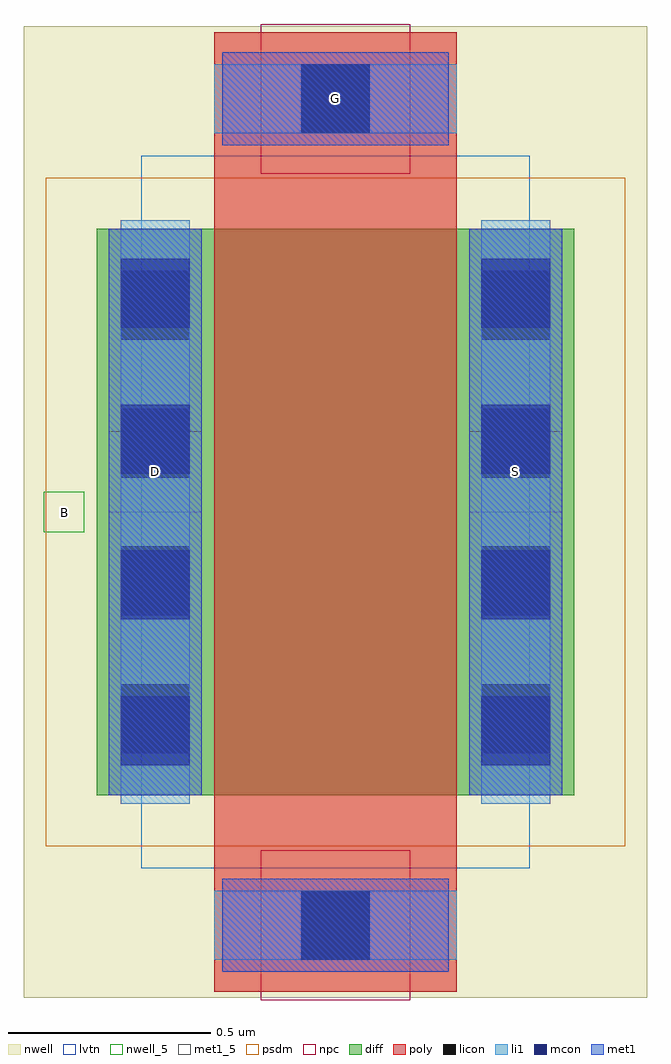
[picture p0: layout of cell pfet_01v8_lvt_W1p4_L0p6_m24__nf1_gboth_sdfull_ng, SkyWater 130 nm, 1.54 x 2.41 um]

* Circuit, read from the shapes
.subckt pfet_01v8_lvt_W1p4_L0p6_m24__nf1_gboth_sdfull_ng B D G S
XM1 S G D B sky130_fd_pr__pfet_01v8_lvt w=1.4 l=0.6
.ends

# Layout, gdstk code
import gdstk
lib = gdstk.Library(unit=1e-6, precision=1e-09)
def R(c, l, rs):  # rectangles x0, y0, x1, y1
    for r in rs: c.add(gdstk.rectangle(r[:2], r[2:], *l))
def A(c, l, x, y, w, h, nx, ny, dx, dy):  # array of equal rectangles
    R(c, l, [(x+i*dx, y+j*dy, x+i*dx+w, y+j*dy+h) for i in range(nx) for j in range(ny)])
nwell_5 = (64, 5)
nwell = (64, 20)
diff = (65, 20)
poly = (66, 20)
licon = (66, 44)
li1 = (67, 20)
mcon = (67, 44)
met1_5 = (68, 5)
met1 = (68, 20)
psdm = (94, 20)
npc = (95, 20)
lvtn = (125, 44)

sky130_fd_pr__pfet_01v8_ = lib.new_cell('sky130_fd_pr__pfet_01v8_lvt_PJ46JE')
R(sky130_fd_pr__pfet_01v8_, nwell, [(-0.77,-1.2,0.77,1.2)])
R(sky130_fd_pr__pfet_01v8_, diff, [(-0.59,-0.7,0.59,0.7)])
R(sky130_fd_pr__pfet_01v8_, poly, [(-0.3,-1.185,0.3,1.185)])
A(sky130_fd_pr__pfet_01v8_, licon, -0.53, -0.595, 0.17, 0.17, 1, 4, 0, 0.34)
A(sky130_fd_pr__pfet_01v8_, licon, 0.36, -0.595, 0.17, 0.17, 1, 4, 0, 0.34)
R(sky130_fd_pr__pfet_01v8_, licon, [(-0.085,-1.105,0.085,-0.935), (-0.085,0.935,0.085,1.105)])
R(sky130_fd_pr__pfet_01v8_, li1, [(-0.3,-1.105,0.3,-0.935), (-0.53,-0.72,-0.36,0.72), (0.36,-0.72,0.53,0.72), (-0.3,0.935,0.3,1.105)])
A(sky130_fd_pr__pfet_01v8_, mcon, -0.53, -0.625, 0.17, 0.17, 1, 4, 0, 0.36)
A(sky130_fd_pr__pfet_01v8_, mcon, 0.36, -0.625, 0.17, 0.17, 1, 4, 0, 0.36)
R(sky130_fd_pr__pfet_01v8_, mcon, [(-0.085,-1.105,0.085,-0.935), (-0.085,0.935,0.085,1.105)])
R(sky130_fd_pr__pfet_01v8_, met1, [(-0.28,-1.135,0.28,-0.905), (-0.56,-0.7,-0.33,0.7), (0.33,-0.7,0.56,0.7), (-0.28,0.905,0.28,1.135)])
R(sky130_fd_pr__pfet_01v8_, psdm, [(-0.715,-0.825,0.715,0.825)])
R(sky130_fd_pr__pfet_01v8_, npc, [(-0.185,-1.205,0.185,-0.835), (-0.185,0.835,0.185,1.205)])
R(sky130_fd_pr__pfet_01v8_, lvtn, [(-0.48,-0.88,0.48,0.88)])
sky130_fd_pr__pfet_01v8_.add(gdstk.Label('D', (-0.445,0), layer=67, texttype=5))
sky130_fd_pr__pfet_01v8_.add(gdstk.Label('S', (0.445,0), layer=67, texttype=5))
sky130_fd_pr__pfet_01v8_.add(gdstk.Label('G', (0,1.02), layer=67, texttype=5))

pfet_01v8_lvt_w1p4_l0p6_ = lib.new_cell('pfet_01v8_lvt_W1p4_L0p6_m24__nf1_gboth_sdfull_ng')
R(pfet_01v8_lvt_w1p4_l0p6_, nwell_5, [(0.05,1.15,0.15,1.25)])
R(pfet_01v8_lvt_w1p4_l0p6_, nwell, [(0.05,1.15,0.15,1.25)])
R(pfet_01v8_lvt_w1p4_l0p6_, met1_5, [(0.21,1.2,0.44,1.4), (1.1,1.2,1.33,1.4), (0.49,2.105,1.05,2.335)])
R(pfet_01v8_lvt_w1p4_l0p6_, met1, [(0.21,1.2,0.44,1.4), (1.1,1.2,1.33,1.4), (0.49,2.105,1.05,2.335)])
pfet_01v8_lvt_w1p4_l0p6_.add(gdstk.Reference(sky130_fd_pr__pfet_01v8_, (0.77,1.2)))
pfet_01v8_lvt_w1p4_l0p6_.add(gdstk.Label('D', (0.325,1.3), layer=68, texttype=5))
pfet_01v8_lvt_w1p4_l0p6_.add(gdstk.Label('S', (1.215,1.3), layer=68, texttype=5))
pfet_01v8_lvt_w1p4_l0p6_.add(gdstk.Label('G', (0.77,2.22), layer=68, texttype=5))
pfet_01v8_lvt_w1p4_l0p6_.add(gdstk.Label('B', (0.1,1.2), layer=64, texttype=5))

lib.write_gds('pfet_01v8_lvt_W1p4_L0p6_m24__nf1_gboth_sdfull_ng.gds')
